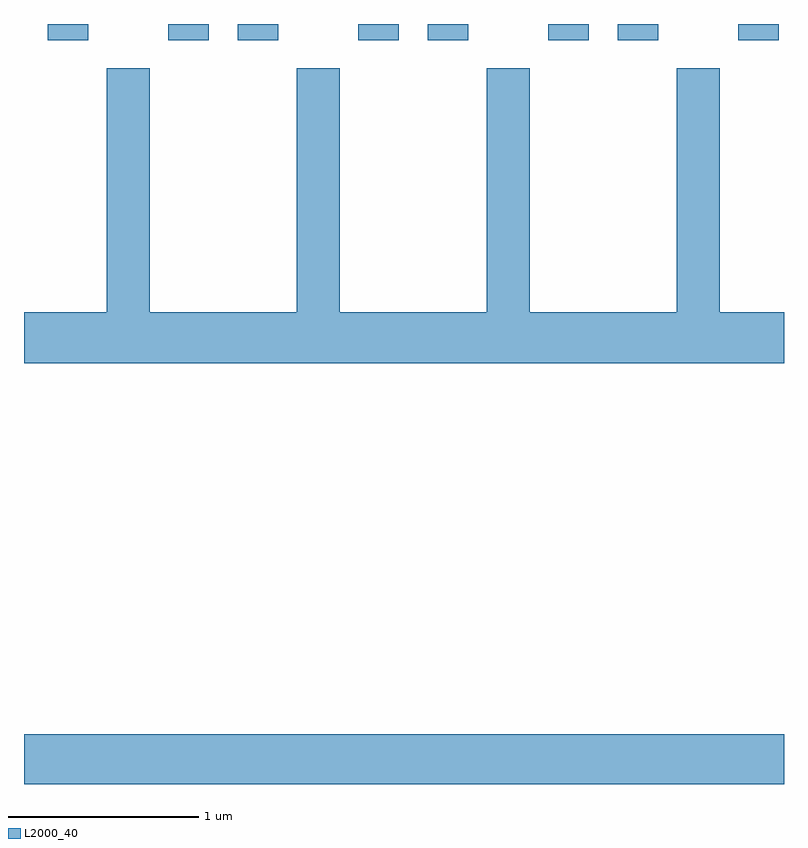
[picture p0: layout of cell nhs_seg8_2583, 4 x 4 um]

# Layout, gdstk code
import gdstk
lib = gdstk.Library(unit=1e-6, precision=1e-09)
def R(c, l, rs):  # rectangles x0, y0, x1, y1
    for r in rs: c.add(gdstk.rectangle(r[:2], r[2:], *l))
def P(c, l, *ps):  # polygons
    for p in ps: c.add(gdstk.Polygon(p, *l))
L2000_40 = (2000, 40)

nhs_seg8_2583 = lib.new_cell('nhs_seg8_2583')
R(nhs_seg8_2583, L2000_40, [(261.611,1916.342,265.611,1916.604), (261.736,1920.256,261.949,1920.342), (262.371,1920.256,262.584,1920.342), (262.736,1920.256,262.949,1920.342), (263.371,1920.256,263.584,1920.342), (263.736,1920.256,263.949,1920.342), (264.371,1920.256,264.584,1920.342), (264.736,1920.256,264.949,1920.342), (265.371,1920.256,265.584,1920.342)])
P(nhs_seg8_2583, L2000_40, [(265.046,1920.109),(265.046,1918.824),(264.274,1918.824),(264.274,1920.109),(264.046,1920.109),(264.046,1918.824),(263.274,1918.824),(263.274,1920.109),(263.046,1920.109),(263.046,1918.824),(262.274,1918.824),(262.274,1920.109),(262.046,1920.109),(262.046,1918.824),(261.611,1918.824),(261.611,1918.556),(265.611,1918.556),(265.611,1918.824),(265.274,1918.824),(265.274,1920.109)])

lib.write_gds('nhs_seg8_2583.gds')
